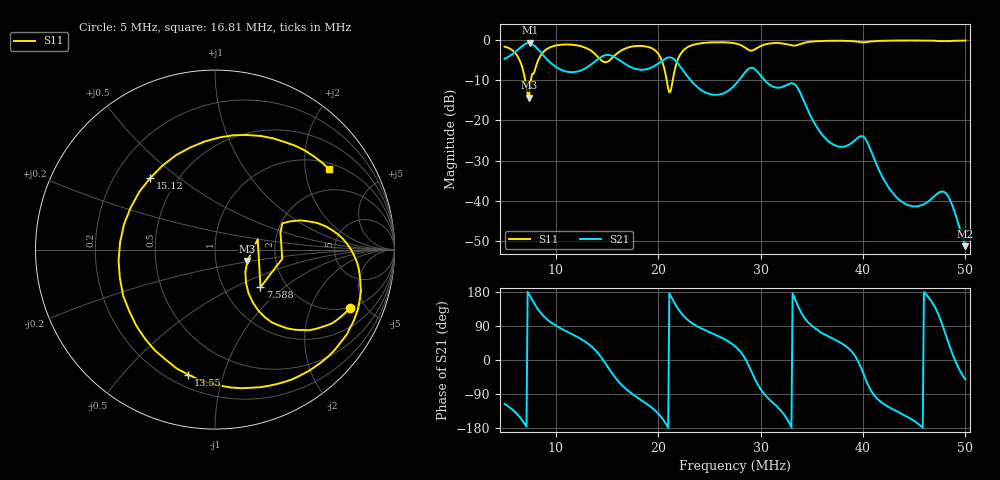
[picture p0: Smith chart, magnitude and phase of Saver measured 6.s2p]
! Measured S11/S21; S12/S22 are placeholders, NOT measurements. Calibration unverified.
! [Saver CAL applied] C:\Users\aknya\MyProjects\rf-simulator\calibration2.cal | Ideal standards assumed | Input: NanoVNA F V2 profile | COM3 | 2026-09-07T18:32:33.5750889-04:00 | device calibration unverified
# HZ S RI R 50
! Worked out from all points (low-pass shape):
!   401 points, 5 MHz to 50 MHz, reference 50 ohm
!   highest |S21| = -0.76 dB at 7.475 MHz (marker M1); lowest = -51.2 dB at 50 MHz (marker M2)
!   |S21| within 3 dB of the highest: 5.668 MHz to 8.734 MHz (3.066 MHz wide, 42.6 % of centre)
!   lowest |S11| = -14.4 dB at 7.362 MHz (marker M3), VSWR 1.47, Z = 71.3 - j9.33 ohm
!   |S11| at or under -10 dB: 7.007 MHz to 7.572 MHz (565.7 kHz wide, 7.76 % of centre); 20.82 MHz to 21.42 MHz (598.1 kHz wide, 2.83 % of centre)
!   S12 and S22 are empty: the file has one direction only
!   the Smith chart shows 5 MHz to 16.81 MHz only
!   S11 on the Smith chart (normalised r, x): 5 MHz: 1.98, -3.91; 7.588 MHz: 1.48, -0.70; 13.55 MHz: 0.27, -0.77; 15.12 MHz: 0.35, +0.40; 16.81 MHz: 1.17, +2.67
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5000000  0.7535 -0.3236  -0.2541 -0.5221  0 0  0 0
7362500  0.1807 -0.063  -0.9123 0.0882  0 0  0 0
7475000  0.2383 0.058  -0.9 0.1742  0 0  0 0
7587500  0.2534 -0.2097  -0.8549 0.232  0 0  0 0
9837500  0.8104 -0.2008  -0.0306 0.4754  0 0  0 0
1.25375e7  0.344 -0.7492  0.2471 0.3396  0 0  0 0
1.355e7  -0.1494 -0.6966  0.4164 0.2827  0 0  0 0
1.5125e7  -0.3598 0.4002  0.6067 -0.2231  0 0  0 0
1.68125e7  0.6339 0.4515  0.1238 -0.4792  0 0  0 0
1.86125e7  0.8174 -0.1506  -0.1495 -0.3978  0 0  0 0
2.0075e7  0.3619 -0.54  -0.4127 -0.3051  0 0  0 0
2.10875e7  -0.2187 -0.0327  -0.6019 0.0438  0 0  0 0
2.21e7  0.3341 0.5433  -0.2971 0.3698  0 0  0 0
2.39e7  0.8722 0.1804  0.0121 0.2532  0 0  0 0
2.75e7  0.8362 -0.3361  0.2208 0.1642  0 0  0 0
2.975e7  0.7574 -0.2592  0.1598 -0.3586  0 0  0 0
3.29e7  0.711 -0.4802  -0.2826 -0.044  0 0  0 0
3.50375e7  0.7619 -0.5633  0.000924 0.1036  0 0  0 0
4.01e7  0.5558 -0.745  0.0472 -0.0396  0 0  0 0
4.2575e7  0.498 -0.8357  -0.00819 -0.0116  0 0  0 0
4.7975e7  0.2803 -0.9182  0.00324 0.0124  0 0  0 0
5e7  0.2164 -0.9517  0.00173 -0.00213  0 0  0 0
